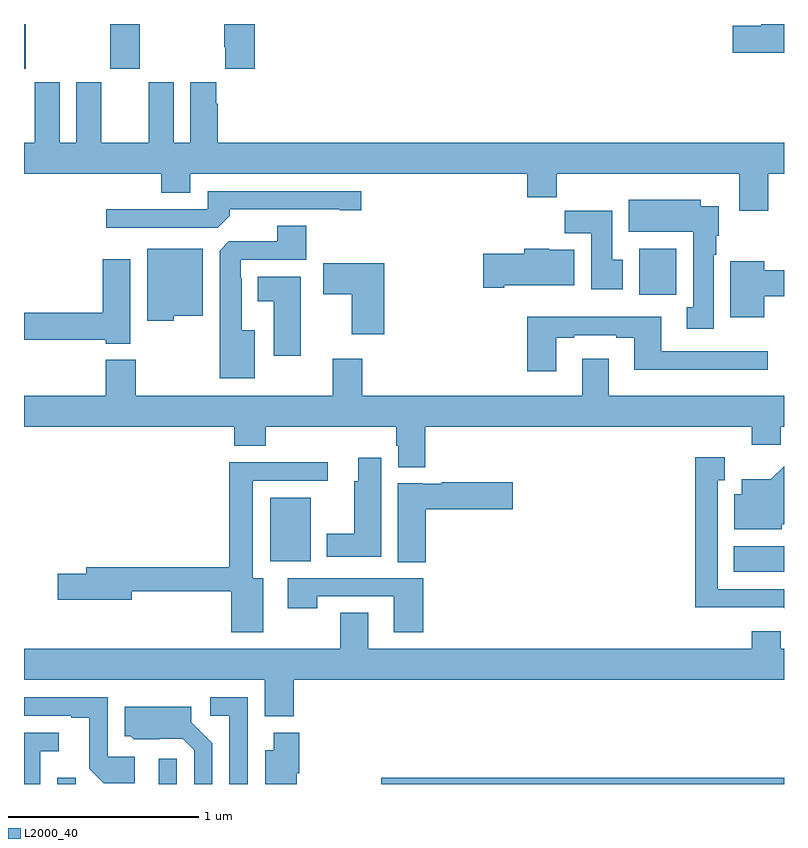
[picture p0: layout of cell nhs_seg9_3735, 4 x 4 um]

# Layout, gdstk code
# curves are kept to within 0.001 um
import gdstk
lib = gdstk.Library(unit=1e-6, precision=1e-09)
def R(c, l, rs):  # rectangles x0, y0, x1, y1
    for r in rs: c.add(gdstk.rectangle(r[:2], r[2:], *l))
def P(c, l, *ps):  # polygons
    for p in ps: c.add(gdstk.Polygon(p, *l))
L2000_40 = (2000, 40)

nhs_seg9_3735 = lib.new_cell('nhs_seg9_3735')
R(nhs_seg9_3735, L2000_40, [(323.175,1234.5,323.273,1234.532), (323.709,1234.5,323.805,1234.633), (324.881,1234.5,327,1234.532), (326.735,1235.618,327,1235.752), (324.296,1235.672,324.508,1236.007), (326.237,1237.076,326.434,1237.318), (323,1238.265,323.01,1238.5), (323.455,1238.265,323.61,1238.5)])
P(nhs_seg9_3735, L2000_40, [(327,1238.5),(326.879,1238.5),(326.879,1238.492),(326.73,1238.492),(326.73,1238.35),(327,1238.35)],
  [(324.215,1238.5),(324.055,1238.5),(324.055,1238.377),(324.059,1238.377),(324.059,1238.265),(324.215,1238.265)],
  [(326.918,1237.712),(327,1237.712),(327,1237.876),(324.02,1237.876),(324.02,1238.081),(324.013,1238.081),(324.013,1238.194),(323.876,1238.194),(323.876,1237.876),(323.788,1237.876),(323.788,1238.194),(323.657,1238.194),(323.657,1237.876),(323.407,1237.876),(323.407,1238.194),(323.276,1238.194),(323.276,1237.876),(323.188,1237.876),(323.188,1238.194),(323.057,1238.194),(323.057,1237.876),(323,1237.876),(323,1237.712),(323.723,1237.712),(323.723,1237.613),(323.875,1237.613),(323.875,1237.712),(325.649,1237.712),(325.649,1237.588),(325.805,1237.588),(325.805,1237.712),(326.765,1237.712),(326.765,1237.518),(326.918,1237.518)],
  [(324.083,1237.49),(324.083,1237.524),(324.662,1237.524),(324.662,1237.519),(324.775,1237.519),(324.775,1237.62),(323.967,1237.62),(323.967,1237.524),(323.433,1237.524),(323.433,1237.428),(324.021,1237.428)],
  [(326.629,1237.286),(326.644,1237.286),(326.644,1237.386),(326.656,1237.386),(326.656,1237.54),(326.563,1237.54),(326.563,1237.576),(326.183,1237.576),(326.183,1237.406),(326.522,1237.406),(326.522,1237.01),(326.489,1237.01),(326.489,1236.897),(326.629,1236.897)],
  [(326.152,1237.26),(326.095,1237.26),(326.095,1237.518),(325.846,1237.518),(325.846,1237.4),(325.985,1237.4),(325.985,1237.104),(326.152,1237.104)],
  [(324.214,1236.889),(324.145,1236.889),(324.145,1237.163),(324.141,1237.163),(324.141,1237.26),(324.485,1237.26),(324.485,1237.439),(324.332,1237.439),(324.332,1237.356),(324.078,1237.356),(324.029,1237.307),(324.029,1236.635),(324.214,1236.635)],
  [(325.528,1237.124),(325.897,1237.124),(325.897,1237.312),(325.764,1237.312),(325.764,1237.318),(325.634,1237.318),(325.634,1237.29),(325.416,1237.29),(325.416,1237.112),(325.528,1237.112)],
  [(323.787,1236.965),(323.941,1236.965),(323.941,1237.318),(323.648,1237.318),(323.648,1236.938),(323.787,1236.938)],
  [(323.56,1237.261),(323.414,1237.261),(323.414,1236.98),(323,1236.98),(323,1236.838),(323.43,1236.838),(323.43,1236.818),(323.56,1236.818)],
  [(326.896,1237.067),(327,1237.067),(327,1237.204),(326.896,1237.204),(326.896,1237.252),(326.717,1237.252),(326.717,1236.956),(326.896,1236.956)],
  [(324.896,1237.24),(324.576,1237.24),(324.576,1237.078),(324.725,1237.078),(324.725,1236.867),(324.896,1236.867)],
  [(324.457,1237.171),(324.23,1237.171),(324.23,1237.04),(324.314,1237.04),(324.314,1236.753),(324.457,1236.753)],
  [(325.801,1236.849),(325.897,1236.849),(325.897,1236.861),(326.117,1236.861),(326.117,1236.849),(326.213,1236.849),(326.213,1236.68),(326.914,1236.68),(326.914,1236.777),(326.353,1236.777),(326.353,1236.958),(325.649,1236.958),(325.649,1236.672),(325.801,1236.672)],
  [(325.112,1236.38),(326.831,1236.38),(326.831,1236.285),(326.982,1236.285),(326.982,1236.38),(327,1236.38),(327,1236.544),(326.077,1236.544),(326.077,1236.739),(325.937,1236.739),(325.937,1236.544),(324.779,1236.544),(324.779,1236.739),(324.626,1236.739),(324.626,1236.544),(323.589,1236.544),(323.589,1236.733),(323.429,1236.733),(323.429,1236.544),(323,1236.544),(323,1236.38),(324.107,1236.38),(324.107,1236.281),(324.272,1236.281),(324.272,1236.38),(324.959,1236.38),(324.959,1236.279),(324.971,1236.279),(324.971,1236.167),(325.112,1236.167)],
  [(327,1235.526),(326.65,1235.526),(326.65,1236.099),(326.689,1236.099),(326.689,1236.22),(326.532,1236.22),(326.532,1235.429),(326.772,1235.429),(326.772,1235.43),(326.994,1235.43),(327,1235.424)],
  [(324.88,1236.217),(324.758,1236.217),(324.758,1236.093),(324.737,1236.093),(324.737,1235.818),(324.593,1235.818),(324.593,1235.696),(324.88,1235.696)],
  [(324.259,1235.584),(324.205,1235.584),(324.205,1236.096),(324.598,1236.096),(324.598,1236.194),(324.08,1236.194),(324.08,1235.642),(323.327,1235.642),(323.327,1235.606),(323.178,1235.606),(323.178,1235.471),(323.566,1235.471),(323.566,1235.514),(324.092,1235.514),(324.092,1235.298),(324.259,1235.298)],
  [(326.988,1235.867),(327,1235.867),(327,1236.173),(326.929,1236.103),(326.777,1236.103),(326.777,1236.025),(326.738,1236.025),(326.738,1235.84),(326.988,1235.84)],
  [(325.115,1235.945),(325.573,1235.945),(325.573,1236.087),(325.198,1236.087),(325.198,1236.079),(325.098,1236.079),(325.098,1236.082),(324.968,1236.082),(324.968,1235.668),(325.115,1235.668)],
  [(325.1,1235.583),(324.387,1235.583),(324.387,1235.424),(324.543,1235.424),(324.543,1235.487),(324.947,1235.487),(324.947,1235.298),(325.1,1235.298)],
  [(324.419,1235.048),(327,1235.048),(327,1235.212),(326.982,1235.212),(326.982,1235.305),(326.831,1235.305),(326.831,1235.212),(324.811,1235.212),(324.811,1235.402),(324.664,1235.402),(324.664,1235.212),(323,1235.212),(323,1235.048),(324.266,1235.048),(324.266,1234.856),(324.419,1234.856)],
  [(323.584,1234.644),(323.442,1234.644),(323.442,1234.956),(323,1234.956),(323,1234.86),(323.249,1234.86),(323.249,1234.848),(323.343,1234.848),(323.343,1234.58),(323.419,1234.504),(323.584,1234.504)],
  [(324.177,1234.956),(323.979,1234.956),(323.979,1234.86),(324.081,1234.86),(324.081,1234.5),(324.177,1234.5)],
  [(323.991,1234.714),(323.881,1234.824),(323.881,1234.906),(323.531,1234.906),(323.531,1234.752),(323.562,1234.752),(323.578,1234.736),(323.835,1234.737),(323.895,1234.677),(323.895,1234.5),(323.991,1234.5)],
  [(324.436,1234.557),(324.449,1234.557),(324.449,1234.771),(324.314,1234.771),(324.314,1234.678),(324.269,1234.678),(324.269,1234.5),(324.436,1234.5)],
  [(323.085,1234.673),(323.182,1234.673),(323.182,1234.77),(323,1234.77),(323,1234.5),(323.085,1234.5)])

lib.write_gds('nhs_seg9_3735.gds')
